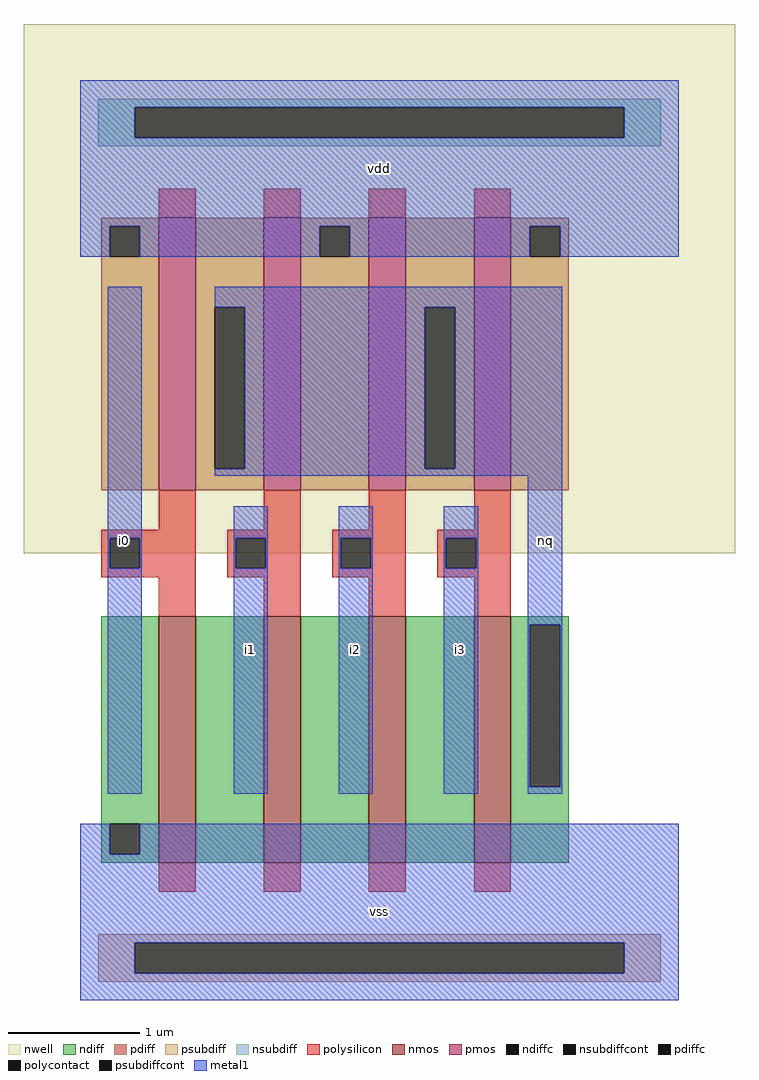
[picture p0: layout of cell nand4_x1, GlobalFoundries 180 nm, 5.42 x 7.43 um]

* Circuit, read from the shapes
.subckt nand4_x1 vss vdd i0 nq i1 i2 i3
XM1 n1 i0 vss vss nfet_03v3 w=1.875u l=0.28u
XM2 n2 i1 n1 vss nfet_03v3 w=1.875u l=0.28u
XM3 n3 i2 n2 vss nfet_03v3 w=1.875u l=0.28u
XM4 nq i3 n3 vss nfet_03v3 w=1.875u l=0.28u
XM5 nq i0 vdd vdd pfet_03v3 w=2.075u l=0.28u
XM6 vdd i1 nq vdd pfet_03v3 w=2.075u l=0.28u
XM7 nq i2 vdd vdd pfet_03v3 w=2.075u l=0.28u
XM8 vdd i3 nq vdd pfet_03v3 w=2.075u l=0.28u
.ends

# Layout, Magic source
magic
tech gf180mcuD
magscale 1 10
<< nwell >>
rect -86 680 998 1486
<< nmos >>
rect 120 209 176 584
rect 280 209 336 584
rect 440 209 496 584
rect 600 209 656 584
<< pmos >>
rect 120 776 176 1191
rect 280 776 336 1191
rect 440 776 496 1191
rect 600 776 656 1191
<< ndiff >>
rect 32 268 120 584
rect 32 222 45 268
rect 91 222 120 268
rect 32 209 120 222
rect 176 209 280 584
rect 336 209 440 584
rect 496 209 600 584
rect 656 571 744 584
rect 656 325 685 571
rect 731 325 744 571
rect 656 209 744 325
<< pdiff >>
rect 32 1178 120 1191
rect 32 1132 45 1178
rect 91 1132 120 1178
rect 32 776 120 1132
rect 176 1055 280 1191
rect 176 809 205 1055
rect 251 809 280 1055
rect 176 776 280 809
rect 336 1178 440 1191
rect 336 1132 365 1178
rect 411 1132 440 1178
rect 336 776 440 1132
rect 496 1055 600 1191
rect 496 809 525 1055
rect 571 809 600 1055
rect 496 776 600 809
rect 656 1178 744 1191
rect 656 1132 685 1178
rect 731 1132 744 1178
rect 656 776 744 1132
<< ndiffc >>
rect 45 222 91 268
rect 685 325 731 571
<< pdiffc >>
rect 45 1132 91 1178
rect 205 809 251 1055
rect 365 1132 411 1178
rect 525 809 571 1055
rect 685 1132 731 1178
<< psubdiff >>
rect 28 87 884 100
rect 28 41 83 87
rect 829 41 884 87
rect 28 28 884 41
<< nsubdiff >>
rect 28 1359 884 1372
rect 28 1313 83 1359
rect 829 1313 884 1359
rect 28 1300 884 1313
<< psubdiffcont >>
rect 83 41 829 87
<< nsubdiffcont >>
rect 83 1313 829 1359
<< polysilicon >>
rect 120 1191 176 1235
rect 280 1191 336 1235
rect 440 1191 496 1235
rect 600 1191 656 1235
rect 120 716 176 776
rect 280 716 336 776
rect 440 716 496 776
rect 600 716 656 776
rect 32 703 176 716
rect 32 657 45 703
rect 91 657 176 703
rect 32 644 176 657
rect 224 703 336 716
rect 224 657 237 703
rect 283 657 336 703
rect 224 644 336 657
rect 384 703 496 716
rect 384 657 397 703
rect 443 657 496 703
rect 384 644 496 657
rect 544 703 656 716
rect 544 657 557 703
rect 603 657 656 703
rect 544 644 656 657
rect 120 584 176 644
rect 280 584 336 644
rect 440 584 496 644
rect 600 584 656 644
rect 120 165 176 209
rect 280 165 336 209
rect 440 165 496 209
rect 600 165 656 209
<< polycontact >>
rect 45 657 91 703
rect 237 657 283 703
rect 397 657 443 703
rect 557 657 603 703
<< metal1 >>
rect 0 1359 912 1400
rect 0 1313 83 1359
rect 829 1313 912 1359
rect 0 1178 912 1313
rect 0 1132 45 1178
rect 91 1132 365 1178
rect 411 1132 685 1178
rect 731 1132 912 1178
rect 42 703 94 1086
rect 205 1055 734 1086
rect 251 809 525 1055
rect 571 809 734 1055
rect 205 798 734 809
rect 42 657 45 703
rect 91 657 94 703
rect 42 314 94 657
rect 234 703 286 752
rect 234 657 237 703
rect 283 657 286 703
rect 234 314 286 657
rect 394 703 446 752
rect 394 657 397 703
rect 443 657 446 703
rect 394 314 446 657
rect 554 703 606 752
rect 554 657 557 703
rect 603 657 606 703
rect 554 314 606 657
rect 682 571 734 798
rect 682 325 685 571
rect 731 325 734 571
rect 682 314 734 325
rect 0 222 45 268
rect 91 222 912 268
rect 0 87 912 222
rect 0 41 83 87
rect 829 41 912 87
rect 0 0 912 41
<< labels >>
rlabel metal1 s 0 0 912 268 4 vss
port 3 nsew
rlabel metal1 s 0 1132 912 1400 4 vdd
port 5 nsew
rlabel metal1 s 42 314 94 1086 4 i0
port 7 nsew
rlabel metal1 s 682 314 734 1086 4 nq
port 9 nsew
rlabel metal1 s 234 314 286 752 4 i1
port 11 nsew
rlabel metal1 s 394 314 446 752 4 i2
port 13 nsew
rlabel metal1 s 554 314 606 752 4 i3
port 15 nsew
<< end >>
